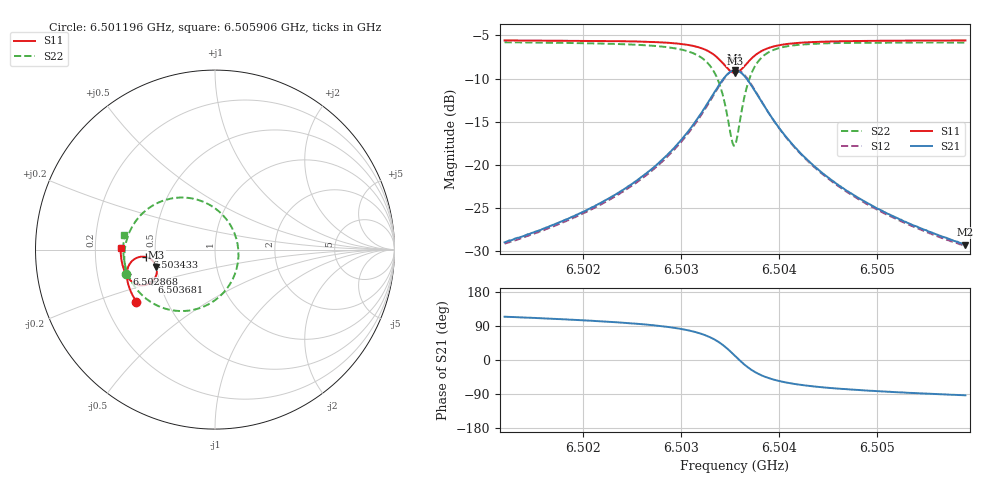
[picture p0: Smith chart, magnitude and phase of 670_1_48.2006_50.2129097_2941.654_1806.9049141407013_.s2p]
#  HZ  S  RI  R  50.00
! Rohde & Schwarz Vector Network Analyzer
! Rohde-Schwarz,ZNB20-2Port,1311601062101988,3.16
! Created: UTC 3/20/2024, 12:06:05 PM
! freq[Hz]  re:S11  im:S11  re:S21  im:S21  re:S12  im:S12  re:S22  im:S22
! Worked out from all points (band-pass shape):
!   401 points, 6.501196 GHz to 6.505906 GHz, reference 50 ohm
!   highest |S21| = -9.03 dB at 6.503551 GHz (marker M1); lowest = -29.2 dB at 6.505906 GHz (marker M2)
!   |S21| within 3 dB of the highest: 6.503316 GHz to 6.503787 GHz (471.2 kHz wide, 0.00724 % of centre)
!   lowest |S11| = -9.4 dB at 6.503551 GHz (marker M3), VSWR 2.03, Z = 25 - j5.44 ohm
!   |S11| at or under -10 dB: nowhere
!   |S22| runs from -17.8 to -5.8 dB; largest |S21 - S12| = 0.014
!   S11 on the Smith chart (normalised r, x): 6.501196 GHz: 0.34, -0.27; 6.502868 GHz: 0.33, -0.12; 6.503433 GHz: 0.45, -0.04; 6.503681 GHz: 0.46, -0.19; 6.505906 GHz: 0.31, +0.01
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6.501196e9  -0.438 -0.2911  -0.0146 0.0325  -0.0128 0.0326  -0.4958 -0.1334
6.5019849e9  -0.4702 -0.2307  -0.0138 0.0513  -0.0109 0.0508  -0.5052 -0.0458
6.5024206e9  -0.4843 -0.1904  -0.0103 0.072  -0.00682 0.0707  -0.4996 0.02
6.5027739e9  -0.4914 -0.1491  -0.000237 0.1032  0.00399 0.1003  -0.477 0.0963
6.5028681e9  -0.4915 -0.1358  0.00577 0.1157  0.0101 0.1125  -0.464 0.1231
6.5030683e9  -0.4856 -0.1012  0.0309 0.1523  0.0353 0.1473  -0.4121 0.194
6.5032096e9  -0.4689 -0.0708  0.0725 0.1873  0.076 0.1807  -0.3317 0.2542
6.5033391e9  -0.4311 -0.0439  0.1528 0.2136  0.1542 0.2063  -0.1857 0.2901
6.5034333e9  -0.3826 -0.042  0.2476 0.1958  0.2484 0.19  -0.0213 0.2444
6.5035157e9  -0.3382 -0.0731  0.3287 0.1178  0.332 0.1122  0.1088 0.0905
6.5035511e9  -0.3269 -0.0964  0.3471 0.0671  0.3513 0.0601  0.1302 -0.00518
6.5035746e9  -0.3238 -0.1134  0.3505 0.0309  0.3549 0.0226  0.1275 -0.0716
6.5036099e9  -0.3263 -0.1387  0.3427 -0.0215  0.3465 -0.0321  0.0987 -0.1648
6.5036806e9  -0.3495 -0.1775  0.2936 -0.1008  0.2932 -0.1142  -0.0169 -0.2935
6.5037748e9  -0.3924 -0.1981  0.2117 -0.1457  0.2059 -0.1574  -0.1839 -0.3423
6.5038454e9  -0.4194 -0.1981  0.162 -0.151  0.1542 -0.1599  -0.2769 -0.3291
6.5039279e9  -0.4433 -0.1907  0.1197 -0.1447  0.1115 -0.1508  -0.3509 -0.296
6.5040927e9  -0.4731 -0.1694  0.0699 -0.1223  0.0626 -0.1254  -0.4319 -0.2263
6.50434e9  -0.496 -0.1381  0.0358 -0.0945  0.0302 -0.095  -0.4812 -0.1461
6.5046697e9  -0.5108 -0.1019  0.0168 -0.0706  0.0127 -0.0703  -0.5037 -0.0737
6.505129e9  -0.5208 -0.058  0.00564 -0.0515  0.00275 -0.0507  -0.5113 -0.00333
6.5059061e9  -0.5259 0.00879  -0.0019 -0.0346  -0.00341 -0.0337  -0.5046 0.0827
